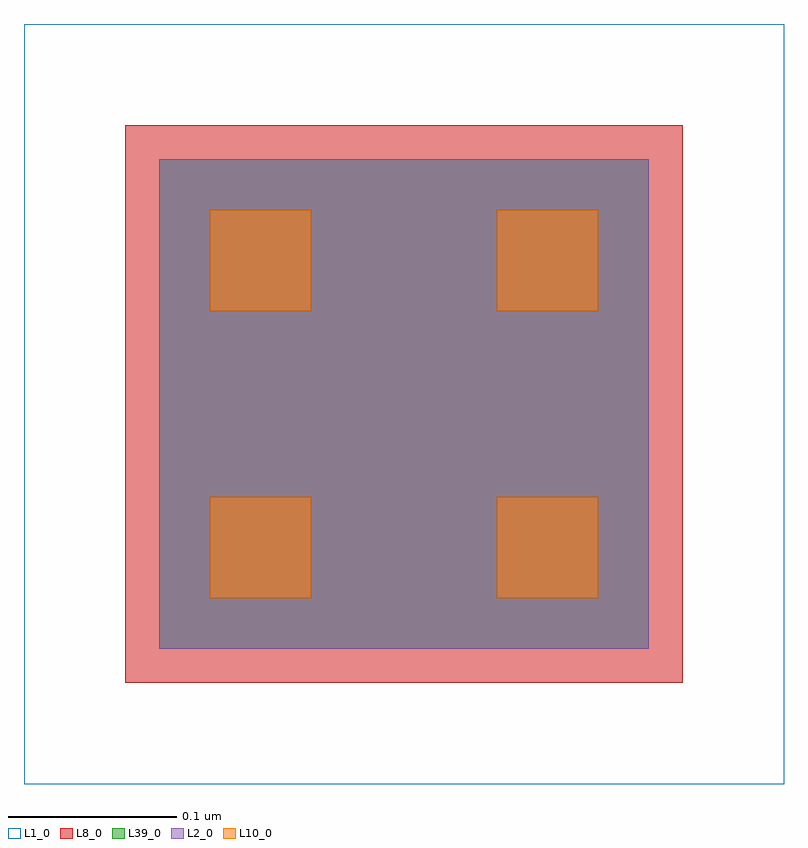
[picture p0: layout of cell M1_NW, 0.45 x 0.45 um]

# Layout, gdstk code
import gdstk
lib = gdstk.Library(unit=1e-6, precision=1e-09)
def R(c, l, rs):  # rectangles x0, y0, x1, y1
    for r in rs: c.add(gdstk.rectangle(r[:2], r[2:], *l))
L1_0 = (1, 0)
L2_0 = (2, 0)
L8_0 = (8, 0)
L10_0 = (10, 0)
L39_0 = (39, 0)

m1_nw = lib.new_cell('M1_NW')
R(m1_nw, L1_0, [(0,0,0.45,0.45)])
R(m1_nw, L2_0, [(0.08,0.08,0.37,0.37)])
R(m1_nw, L8_0, [(0.06,0.06,0.39,0.39)])
R(m1_nw, L10_0, [(0.11,0.11,0.17,0.17), (0.28,0.11,0.34,0.17), (0.11,0.28,0.17,0.34), (0.28,0.28,0.34,0.34)])
R(m1_nw, L39_0, [(0.08,0.08,0.37,0.37)])

lib.write_gds('M1_NW.gds')
